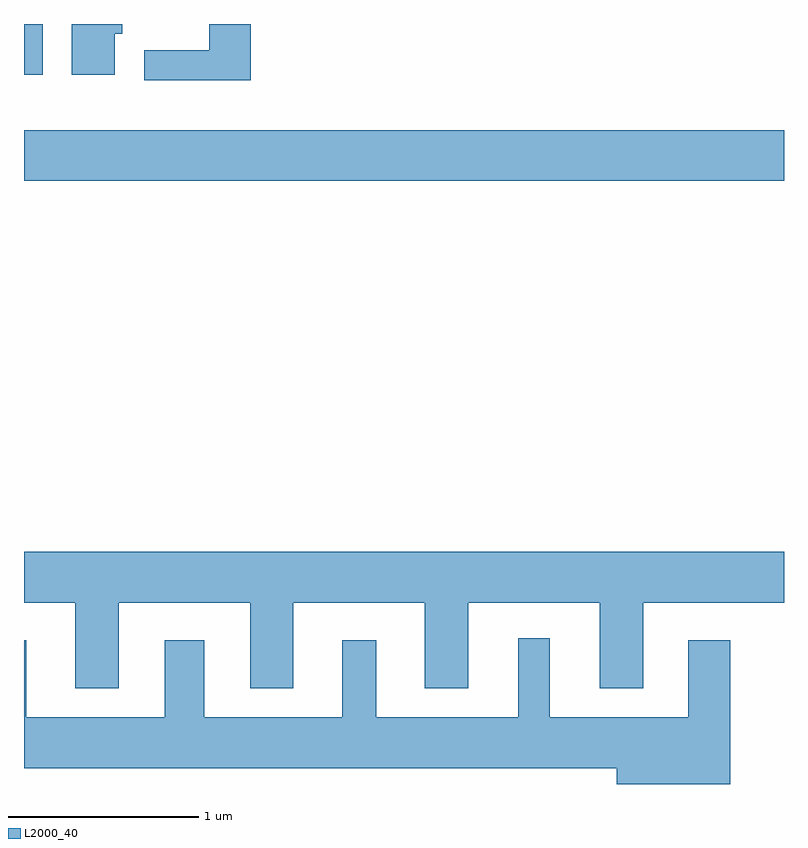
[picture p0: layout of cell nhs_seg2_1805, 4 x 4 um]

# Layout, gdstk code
import gdstk
lib = gdstk.Library(unit=1e-6, precision=1e-09)
def R(c, l, rs):  # rectangles x0, y0, x1, y1
    for r in rs: c.add(gdstk.rectangle(r[:2], r[2:], *l))
def P(c, l, *ps):  # polygons
    for p in ps: c.add(gdstk.Polygon(p, *l))
L2000_40 = (2000, 40)

nhs_seg2_1805 = lib.new_cell('nhs_seg2_1805')
R(nhs_seg2_1805, L2000_40, [(237.611,1054.976,241.611,1055.244), (237.611,1055.536,237.709,1055.802)])
P(nhs_seg2_1805, L2000_40, [(238.804,1055.802),(238.586,1055.802),(238.586,1055.664),(238.243,1055.664),(238.243,1055.506),(238.804,1055.506)],
  [(238.089,1055.751),(238.129,1055.751),(238.129,1055.802),(237.861,1055.802),(237.861,1055.536),(238.089,1055.536)],
  [(238.109,1052.756),(238.801,1052.756),(238.801,1052.306),(239.029,1052.306),(239.029,1052.756),(239.721,1052.756),(239.721,1052.306),(239.949,1052.306),(239.949,1052.756),(240.641,1052.756),(240.641,1052.306),(240.869,1052.306),(240.869,1052.756),(241.611,1052.756),(241.611,1053.024),(237.611,1053.024),(237.611,1052.756),(237.881,1052.756),(237.881,1052.306),(238.109,1052.306)],
  [(241.329,1052.559),(241.106,1052.559),(241.106,1052.154),(240.379,1052.154),(240.379,1052.568),(240.211,1052.568),(240.211,1052.154),(239.464,1052.154),(239.464,1052.559),(239.286,1052.559),(239.286,1052.154),(238.559,1052.154),(238.559,1052.559),(238.351,1052.559),(238.351,1052.154),(237.624,1052.154),(237.624,1052.559),(237.611,1052.559),(237.611,1051.886),(240.731,1051.886),(240.731,1051.802),(241.329,1051.802)])

lib.write_gds('nhs_seg2_1805.gds')
